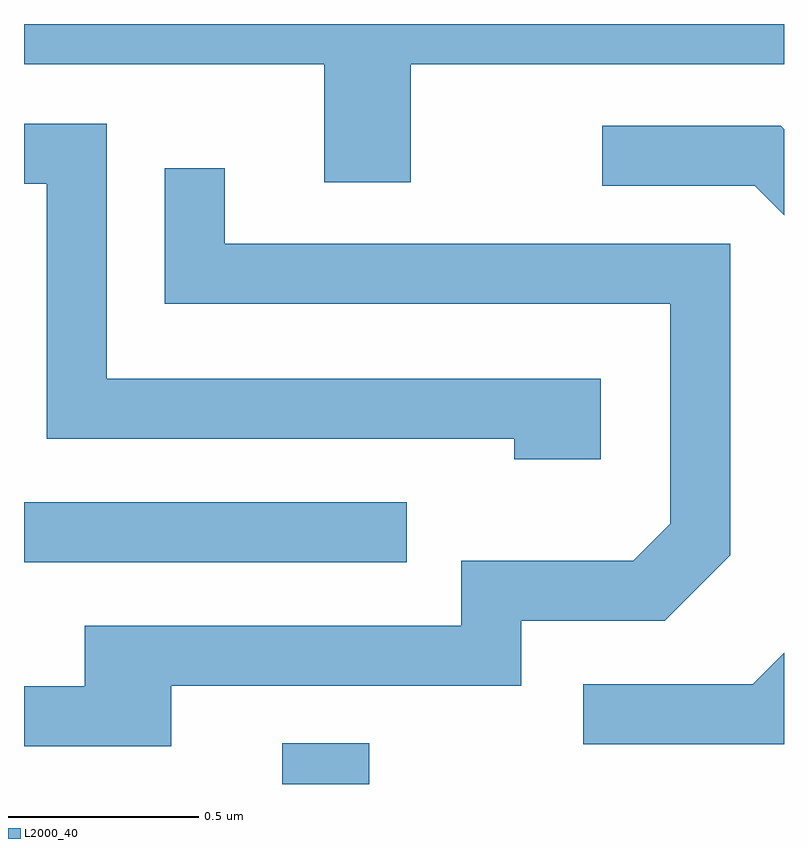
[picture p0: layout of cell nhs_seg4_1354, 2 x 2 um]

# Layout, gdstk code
import gdstk
lib = gdstk.Library(unit=1e-6, precision=1e-09)
def R(c, l, rs):  # rectangles x0, y0, x1, y1
    for r in rs: c.add(gdstk.rectangle(r[:2], r[2:], *l))
def P(c, l, *ps):  # polygons
    for p in ps: c.add(gdstk.Polygon(p, *l))
L2000_40 = (2000, 40)

nhs_seg4_1354 = lib.new_cell('nhs_seg4_1354')
R(nhs_seg4_1354, L2000_40, [(195.291,1374.982,195.519,1375.089), (194.611,1375.566,195.618,1375.724)])
P(nhs_seg4_1354, L2000_40, [(195.629,1376.876),(196.611,1376.876),(196.611,1376.982),(194.611,1376.982),(194.611,1376.876),(195.401,1376.876),(195.401,1376.566),(195.629,1376.566)],
  [(196.129,1376.049),(194.829,1376.049),(194.829,1376.719),(194.611,1376.719),(194.611,1376.561),(194.671,1376.561),(194.671,1375.891),(195.901,1375.891),(195.901,1375.836),(196.129,1375.836)],
  [(196.611,1376.705),(196.602,1376.714),(196.133,1376.714),(196.133,1376.556),(196.534,1376.556),(196.611,1376.479)],
  [(194.999,1375.241),(195.919,1375.241),(195.919,1375.411),(196.297,1375.411),(196.469,1375.584),(196.469,1376.404),(195.139,1376.404),(195.139,1376.603),(194.981,1376.603),(194.981,1376.246),(196.311,1376.246),(196.311,1375.667),(196.214,1375.569),(195.761,1375.569),(195.761,1375.399),(194.771,1375.399),(194.771,1375.239),(194.611,1375.239),(194.611,1375.081),(194.999,1375.081)],
  [(196.611,1375.327),(196.529,1375.244),(196.083,1375.244),(196.083,1375.086),(196.611,1375.086)])

lib.write_gds('nhs_seg4_1354.gds')
